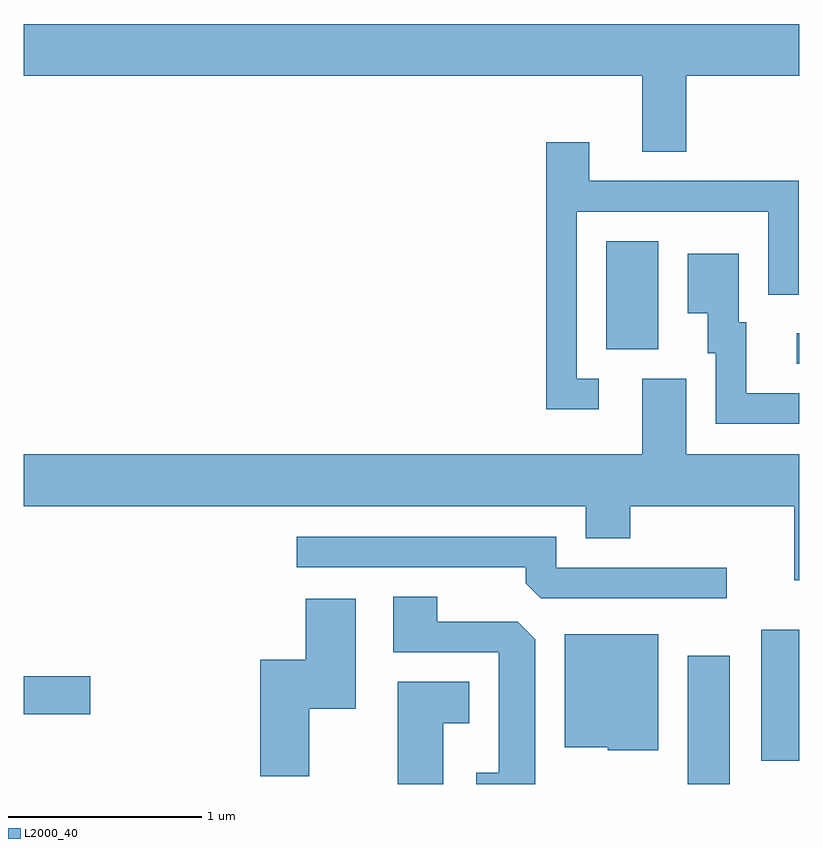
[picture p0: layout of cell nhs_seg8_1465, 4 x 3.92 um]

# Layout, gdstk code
import gdstk
lib = gdstk.Library(unit=1e-6, precision=1e-09)
def R(c, l, rs):  # rectangles x0, y0, x1, y1
    for r in rs: c.add(gdstk.rectangle(r[:2], r[2:], *l))
def P(c, l, *ps):  # polygons
    for p in ps: c.add(gdstk.Polygon(p, *l))
L2000_40 = (2000, 40)

nhs_seg8_1465 = lib.new_cell('nhs_seg8_1465')
R(nhs_seg8_1465, L2000_40, [(233.036,1808.342,233.254,1809.004), (233.416,1808.461,233.611,1809.139), (229.611,1808.701,229.954,1808.899), (233.598,1810.511,233.611,1810.669), (232.616,1810.586,232.884,1811.144)])
P(nhs_seg8_1465, L2000_40, [(233.029,1811.996),(233.611,1811.996),(233.611,1812.264),(229.611,1812.264),(229.611,1811.996),(232.801,1811.996),(232.801,1811.606),(233.029,1811.606)],
  [(232.578,1810.434),(232.464,1810.434),(232.464,1811.296),(233.451,1811.296),(233.451,1810.868),(233.609,1810.868),(233.609,1811.454),(232.529,1811.454),(232.529,1811.654),(232.306,1811.654),(232.306,1810.276),(232.578,1810.276)],
  [(233.611,1810.359),(233.339,1810.359),(233.339,1810.724),(233.299,1810.724),(233.299,1811.079),(233.036,1811.079),(233.036,1810.771),(233.141,1810.771),(233.141,1810.566),(233.181,1810.566),(233.181,1810.201),(233.611,1810.201)],
  [(233.611,1810.044),(233.029,1810.044),(233.029,1810.434),(232.801,1810.434),(232.801,1810.044),(229.611,1810.044),(229.611,1809.776),(232.511,1809.776),(232.511,1809.611),(232.739,1809.611),(232.739,1809.776),(233.586,1809.776),(233.586,1809.393),(233.611,1809.393)],
  [(233.238,1809.459),(232.359,1809.459),(232.359,1809.619),(231.018,1809.619),(231.018,1809.461),(232.201,1809.461),(232.201,1809.377),(232.277,1809.301),(233.238,1809.301)],
  [(232.249,1809.089),(232.159,1809.179),(231.744,1809.179),(231.744,1809.309),(231.516,1809.309),(231.516,1809.021),(232.061,1809.021),(232.061,1808.399),(231.946,1808.399),(231.946,1808.342),(232.249,1808.342)],
  [(231.084,1808.731),(231.324,1808.731),(231.324,1809.299),(231.066,1809.299),(231.066,1808.984),(230.831,1808.984),(230.831,1808.381),(231.084,1808.381)],
  [(232.884,1809.114),(232.401,1809.114),(232.401,1808.531),(232.625,1808.531),(232.625,1808.516),(232.884,1808.516)],
  [(231.774,1808.656),(231.909,1808.656),(231.909,1808.869),(231.541,1808.869),(231.541,1808.342),(231.774,1808.342)])

lib.write_gds('nhs_seg8_1465.gds')
